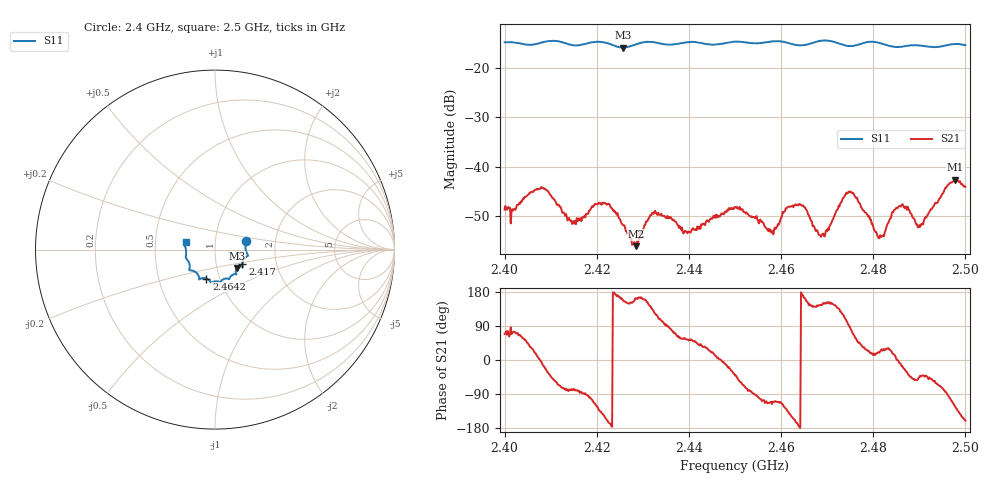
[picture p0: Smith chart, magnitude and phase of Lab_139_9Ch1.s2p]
# Hz S RI R 50
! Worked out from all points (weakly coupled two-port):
!   601 points, 2.4 GHz to 2.5 GHz, reference 50 ohm
!   highest |S21| = -42.59 dB at 2.4978 GHz (marker M1); lowest = -56.0 dB at 2.4285 GHz (marker M2)
!   lowest |S11| = -15.9 dB at 2.4257 GHz (marker M3), VSWR 1.38, Z = 62.4 - j13.1 ohm
!   |S11| at or under -10 dB: start of sweep to end of sweep
!   S12 and S22 are empty: the file has one direction only
!   S11 on the Smith chart (normalised r, x): 2.4 GHz: 1.41, +0.15; 2.417 GHz: 1.34, -0.22; 2.4642 GHz: 0.86, -0.29; 2.5 GHz: 0.72, +0.06
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2.4e9  0.1733 0.05  0.00132 0.00346  0 0  0 0
2.408333e9  0.1796 -0.0236  0.00587 -0.00146  0 0  0 0
2.414167e9  0.1645 -0.0477  0.000552 -0.00283  0 0  0 0
2.416667e9  0.1529 -0.0746  0.000271 -0.00281  0 0  0 0
2.417e9  0.1525 -0.0785  0.000114 -0.00312  0 0  0 0
2.422e9  0.1514 -0.0946  -0.00383 -0.0018  0 0  0 0
2.425667e9  0.1226 -0.1023  -0.0024 0.000967  0 0  0 0
2.4285e9  0.1156 -0.1277  -0.0015 0.00049  0 0  0 0
2.433333e9  0.1127 -0.1367  -0.00128 0.0032  0 0  0 0
2.44e9  0.0798 -0.1632  0.00137 0.00171  0 0  0 0
2.45e9  0.0295 -0.1809  0.00296 -0.00254  0 0  0 0
2.458e9  -0.0186 -0.1832  -0.000953 -0.00193  0 0  0 0
2.464167e9  -0.0481 -0.1612  -0.00417 -5.14e-05  0 0  0 0
2.466667e9  -0.0762 -0.1597  -0.00228 0.00167  0 0  0 0
2.469167e9  -0.0876 -0.1667  -0.00184 0.00105  0 0  0 0
2.475e9  -0.1065 -0.1264  0.000483 0.00562  0 0  0 0
2.481333e9  -0.142 -0.1072  0.00179 0.000619  0 0  0 0
2.483333e9  -0.1408 -0.0894  0.00235 0.00141  0 0  0 0
2.486e9  -0.1499 -0.0631  0.0039 -0.000761  0 0  0 0
2.490333e9  -0.1625 -0.0394  0.00191 -0.00181  0 0  0 0
2.497833e9  -0.1707 0.0311  -0.00417 -0.00614  0 0  0 0
2.5e9  -0.1635 0.0419  -0.0059 -0.00215  0 0  0 0
